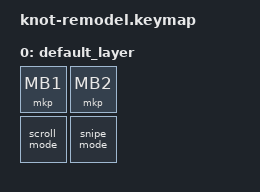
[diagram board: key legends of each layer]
#include <behaviors.dtsi>
#include <dt-bindings/zmk/keys.h>
#include <dt-bindings/zmk/pointing.h>

/ {
    // behaviors ブロックは、必ず .keymap ファイルのここに書きます
    behaviors {
        snipe_mode: behavior_snipe {
            compatible = "zmk,behavior-sensor-mode";
            mode = "snipe";
        };
        scroll_mode: behavior_scroll {
            compatible = "zmk,behavior-sensor-mode";
            mode = "scroll";
        };
    };

    keymap {
        compatible = "zmk,keymap";
        default_layer {
            bindings = <
                &mkp MB1          &mkp MB2
                &scroll_mode      &snipe_mode
            >;
        };
    };
};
